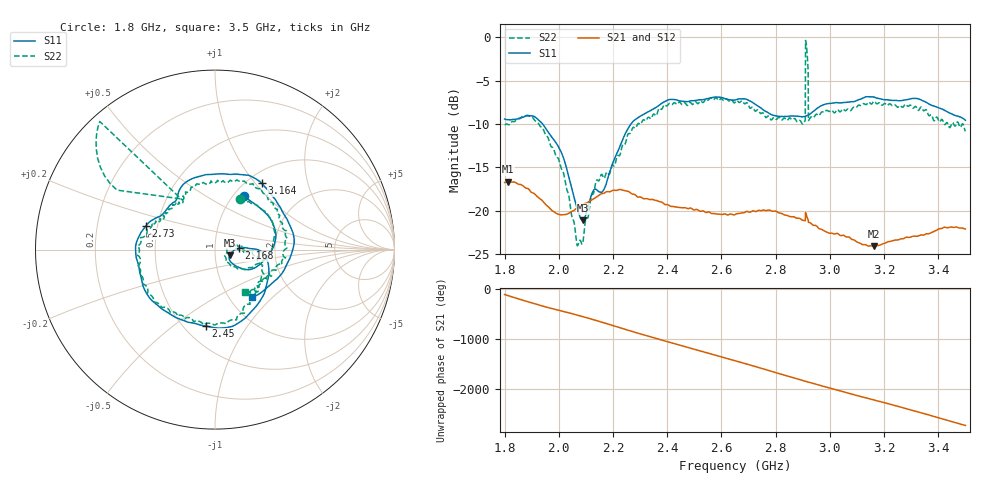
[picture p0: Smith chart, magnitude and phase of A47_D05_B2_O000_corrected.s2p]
! Created with skrf 1.9.0 (http://scikit-rf.org).
# Hz S RI R 50.0
!freq ReS11 ImS11 ReS21 ImS21 ReS12 ImS12 ReS22 ImS22
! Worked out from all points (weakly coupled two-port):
!   1601 points, 1.8 GHz to 3.5 GHz, reference 50 ohm
!   highest |S21| = -16.64 dB at 1.812 GHz (marker M1); lowest = -24.1 dB at 3.162 GHz (marker M2)
!   lowest |S11| = -21.1 dB at 2.089 GHz (marker M3), VSWR 1.19, Z = 58.8 - j3.8 ohm
!   |S11| at or under -10 dB: 1.941 GHz to 2.266 GHz (325.3 MHz wide, 15.5 % of centre)
!   |S22| runs from -24.0 to -0.4 dB; largest |S21 - S12| = 0.0024
!   S11 on the Smith chart (normalised r, x): 1.8 GHz: 1.12, +0.75; 2.168 GHz: 1.31, +0.02; 2.45 GHz: 0.63, -0.66; 2.73 GHz: 0.43, +0.14; 3.164 GHz: 1.17, +1.08; 3.5 GHz: 1.27, -0.75
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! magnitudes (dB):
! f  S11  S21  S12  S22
! 1.8 GHz  -9.4  -16.7  -16.7  -10.1
! 1.812 GHz  -9.5  -16.6  -16.6  -10.0
! 1.941 GHz  -10.0  -18.9  -18.9  -10.5
! 2.011 GHz  -13.4  -20.5  -20.4  -15.3
! 2.066 GHz  -19.5  -19.7  -19.7  -23.7
! 2.084 GHz  -21.0  -19.4  -19.4  -23.7
! 2.089 GHz  -21.1  -19.3  -19.3  -23.6
! 2.134 GHz  -17.5  -18.5  -18.5  -17.1
! 2.168 GHz  -17.5  -18.0  -18.0  -16.2
! 2.26 GHz  -10.3  -17.8  -17.8  -11.1
! 2.367 GHz  -7.9  -18.9  -18.8  -8.3
! 2.45 GHz  -7.4  -19.6  -19.6  -7.6
! 2.65 GHz  -7.2  -20.4  -20.4  -7.5
! 2.73 GHz  -7.8  -20.0  -20.1  -8.4
! 2.901 GHz  -9.2  -21.1  -21.1  -10.0
! 2.911 GHz  -9.1  -20.3  -20.3  -0.5
! 2.919 GHz  -9.0  -21.0  -20.9  -3.2
! 2.934 GHz  -8.7  -21.5  -21.5  -9.2
! 3.162 GHz  -6.9  -24.1  -24.0  -7.4
! 3.164 GHz  -6.9  -24.1  -24.0  -7.4
! 3.217 GHz  -7.2  -23.5  -23.5  -7.7
! 3.5 GHz  -9.6  -22.1  -22.1  -10.8
